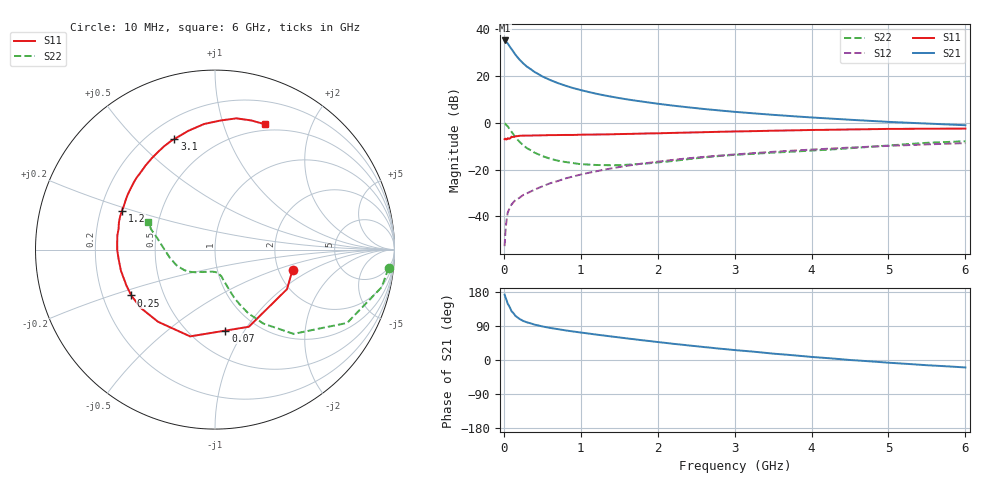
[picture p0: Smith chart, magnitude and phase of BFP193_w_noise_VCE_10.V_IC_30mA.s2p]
! Infineon Technologies  Discrete & RF Semiconductors
! BFP193
! VCE =  10. V,  IC =  30 mA
! Common Emitter S-Parameters:  Jan 2017
# GHz  S  MA  R  50
!  f  S11  S21  S12  S22
! GHz  MAG  ANG  MAG  ANG  MAG  ANG  MAG  ANG
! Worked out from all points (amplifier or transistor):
!   77 points, 10 MHz to 6 GHz, reference 50 ohm
!   highest |S21| = 35.2 dB at 10 MHz (marker M1)
!   |S21| within 3 dB of that: start of sweep to 84.96 MHz
!   unconditionally stable (mu >= 1): 807.7 MHz to 2.46 GHz
!   at 130 MHz: K = 0.46, MSG = 31.9 dB, |S12| = -33.8 dB
!   at 2.2 GHz: K = 1.01, MAG = 10.9 dB, |S12| = -15.9 dB
!   at 6 GHz: K = 0.90, MSG = 3.8 dB, |S12| = -8.7 dB
!   lowest NFmin = 1.22 dB at 450 MHz
!   S11 on the Smith chart (normalised r, x): 10 MHz: 2.39, -0.66; 70 MHz: 0.73, -0.83; 250 MHz: 0.32, -0.23; 1.2 GHz: 0.29, +0.18; 3.1 GHz: 0.30, +0.65; 6 GHz: 0.43, +1.39
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0.01  0.4466 -14.4  57.62 172.5  0.0023 83.6  0.9723 -6.1
0.02  0.4577 -28.8  57.13 166.1  0.0045 82.8  0.9519 -12.7
0.05  0.4694 -66.3  49.88 148.6  0.0119 67.7  0.8422 -29.0
0.07  0.455 -82.7  44.4 141.9  0.0143 63.5  0.7537 -35.0
0.1  0.503 -106.0  37.69 128.6  0.0179 59.3  0.6418 -47.0
0.15  0.5123 -128.3  28.66 116.6  0.0222 54.3  0.4932 -56.8
0.2  0.526 -141.8  22.79 108.9  0.0247 54.9  0.3987 -62.5
0.25  0.5318 -151.3  18.76 103.2  0.0285 55.2  0.3334 -65.8
0.3  0.5326 -157.9  15.88 99.4  0.031 55.9  0.2874 -68.3
0.4  0.5372 -167.4  12.18 93.2  0.0371 60.0  0.2291 -70.9
0.5  0.5397 -174.5  9.817 88.6  0.0437 61.1  0.1945 -73.0
0.6  0.5449 -179.8  8.249 84.7  0.0508 62.2  0.171 -75.0
0.7  0.5465 175.8  7.087 81.5  0.0568 64.0  0.155 -76.2
0.9  0.5495 167.8  5.534 75.3  0.0711 63.9  0.1376 -80.9
1.1  0.5599 160.9  4.564 69.9  0.0851 63.2  0.128 -85.7
1.2  0.5617 157.5  4.19 67.1  0.0918 62.5  0.1252 -88.6
1.6  0.5777 145.7  3.173 57.0  0.1202 59.5  0.1265 -102.9
2.1  0.6015 131.9  2.441 45.2  0.1541 54.5  0.1471 -122.0
3.1  0.6563 110.2  1.665 24.5  0.2161 43.1  0.2106 -148.9
4.1  0.7049 93.5  1.271 6.6  0.2728 32.0  0.2598 -171.8
5.1  0.7414 79.5  1.029 -8.4  0.3255 20.8  0.3358 167.5
6  0.7517 68.2  0.887 -19.7  0.3678 10.8  0.4035 157.4
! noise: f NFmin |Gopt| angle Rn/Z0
0.45  1.22  0.33  -174  0.08
0.9  1.27  0.38  -173  0.07
1.9  1.89  0.57  -137  0.17
2.4  2.22  0.62  -121  0.38
